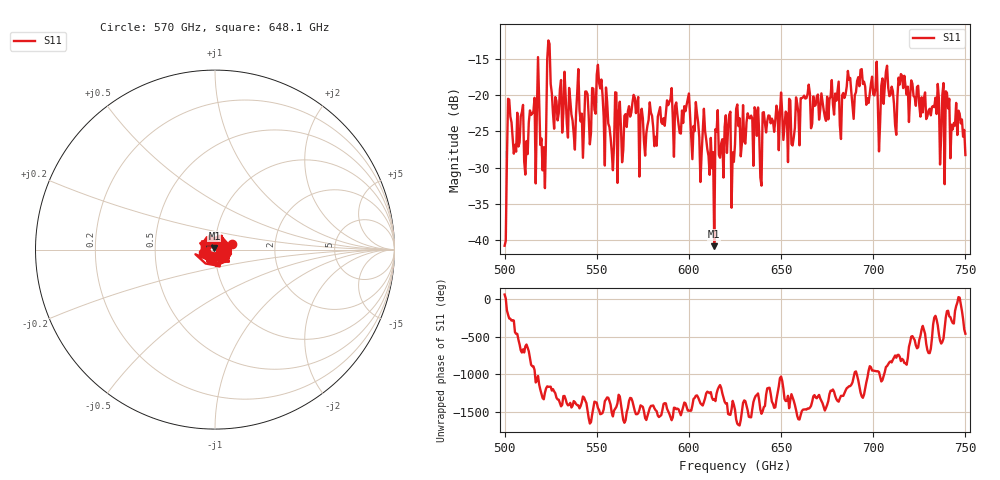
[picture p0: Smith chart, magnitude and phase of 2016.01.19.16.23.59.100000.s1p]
!Created with skrf (http://scikit-rf.org).
# GHz S RI R 50.0
!freq ReS11 ImS11
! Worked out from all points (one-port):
!   401 points, 500 GHz to 750 GHz, reference 50 ohm
!   lowest |S11| = -40.8 dB at 613.8 GHz (marker M1), VSWR 1.02, Z = 49.6 + j0.835 ohm
!   |S11| at or under -10 dB: start of sweep to end of sweep
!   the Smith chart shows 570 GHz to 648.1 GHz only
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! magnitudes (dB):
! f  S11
! 500 GHz  -40.8
! 503.1 GHz  -23.0
! 511.9 GHz  -26.3
! 515 GHz  -22.5
! 518.8 GHz  -20.8
! 520.6 GHz  -30.4
! 524.4 GHz  -12.9
! 527.5 GHz  -20.3
! 531.2 GHz  -25.2
! 541.9 GHz  -22.5
! 551.2 GHz  -18.3
! 558.1 GHz  -27.8
! 561.2 GHz  -32.1
! 562.5 GHz  -20.9
! 571.2 GHz  -22.5
! 576.2 GHz  -28.3
! 593.8 GHz  -22.7
! 598.8 GHz  -21.3
! 613.8 GHz  -40.8
! 615.6 GHz  -22.1
! 625 GHz  -26.8
! 656.2 GHz  -26.9
! 663.8 GHz  -20.4
! 683.1 GHz  -20.0
! 687.5 GHz  -17.6
! 718.8 GHz  -18.8
! 746.2 GHz  -22.1
! 750 GHz  -28.2
